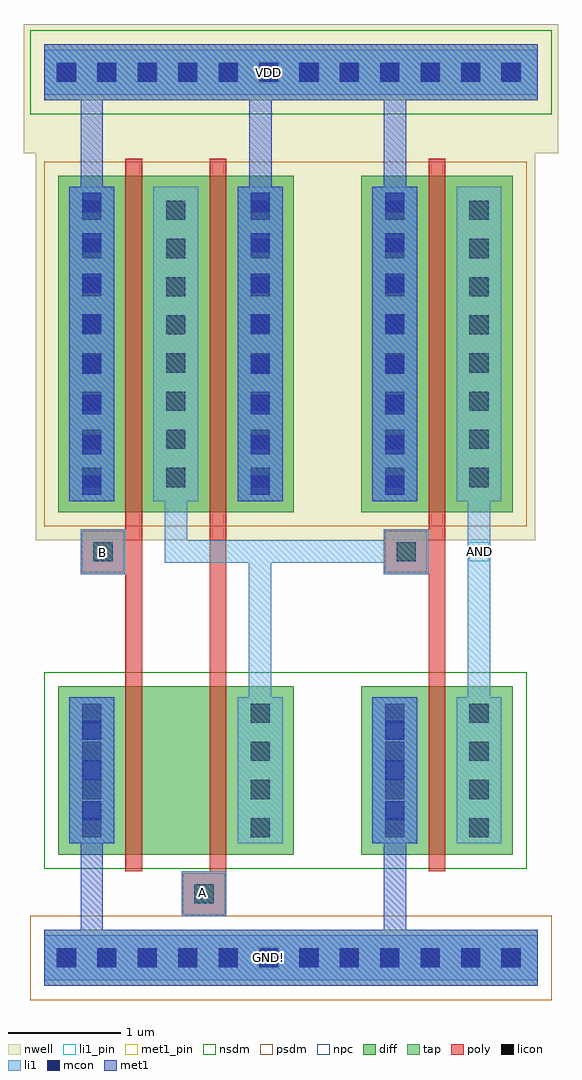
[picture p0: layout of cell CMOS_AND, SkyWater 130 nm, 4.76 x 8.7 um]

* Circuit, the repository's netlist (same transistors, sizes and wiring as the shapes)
* NGSPICE file created from CMOS_AND.ext - technology: sky130A

.subckt CMOS_AND GND AND A B VDD
X0 AND a_30_440# GND GND sky130_fd_pr__nfet_01v8 ad=9e+11p pd=4.2e+06u as=1.8e+12p ps=8.4e+06u w=1.5e+06u l=150000u
X1 VDD A a_30_440# VDD sky130_fd_pr__pfet_01v8 ad=5.4e+12p pd=2.16e+07u as=1.8e+12p ps=7.2e+06u w=3e+06u l=150000u
X2 a_30_n170# B GND GND sky130_fd_pr__nfet_01v8 ad=9e+11p pd=4.2e+06u as=0p ps=0u w=1.5e+06u l=150000u
X3 AND a_30_440# VDD VDD sky130_fd_pr__pfet_01v8 ad=1.8e+12p pd=7.2e+06u as=0p ps=0u w=3e+06u l=150000u
X4 a_30_440# B VDD VDD sky130_fd_pr__pfet_01v8 ad=0p pd=0u as=0p ps=0u w=3e+06u l=150000u
X5 a_30_440# A a_30_n170# GND sky130_fd_pr__nfet_01v8 ad=9e+11p pd=4.2e+06u as=0p ps=0u w=1.5e+06u l=150000u
.ends

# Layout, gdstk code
import gdstk
lib = gdstk.Library(unit=1e-6, precision=1e-09)
def R(c, l, rs):  # rectangles x0, y0, x1, y1
    for r in rs: c.add(gdstk.rectangle(r[:2], r[2:], *l))
def A(c, l, x, y, w, h, nx, ny, dx, dy):  # array of equal rectangles
    R(c, l, [(x+i*dx, y+j*dy, x+i*dx+w, y+j*dy+h) for i in range(nx) for j in range(ny)])
nwell = (64, 20)
diff = (65, 20)
tap = (65, 44)
poly = (66, 20)
licon = (66, 44)
li1_pin = (67, 16)
li1 = (67, 20)
mcon = (67, 44)
met1_pin = (68, 16)
met1 = (68, 20)
nsdm = (93, 44)
psdm = (94, 20)
npc = (95, 20)

cmos_and = lib.new_cell('CMOS_AND')
R(cmos_and, nwell, [(-0.8,1.95,3.65,5.4), (-0.905,5.4,3.855,6.55)])
R(cmos_and, diff, [(-0.6,-0.85,1.5,0.65), (2.1,-0.85,3.45,0.65), (-0.6,2.2,1.5,5.2), (2.1,2.2,3.45,5.2)])
R(cmos_and, tap, [(-0.725,-2.02,3.675,-1.52), (-0.725,5.87,3.675,6.37)])
R(cmos_and, poly, [(0.5,-1.4,0.9,-1), (0,-1,0.15,1.65), (0.75,-1,0.9,5.35), (2.7,-1,2.85,1.65), (-0.4,1.65,0.15,2.05), (2.3,1.65,2.85,2.05), (0,2.05,0.15,5.35), (2.7,2.05,2.85,5.35)])
A(cmos_and, licon, -0.61, -1.855, 0.17, 0.17, 6, 2, 0.36, 7.89)
A(cmos_and, licon, 1.19, -1.855, 0.17, 0.17, 7, 2, 0.36, 7.89)
A(cmos_and, licon, -0.385, -0.695, 0.17, 0.17, 1, 4, 0, 0.34)
A(cmos_and, licon, 1.115, -0.695, 0.17, 0.17, 1, 4, 0, 0.34)
A(cmos_and, licon, 2.315, -0.695, 0.17, 0.17, 1, 4, 0, 0.34)
A(cmos_and, licon, 3.065, -0.695, 0.17, 0.17, 1, 4, 0, 0.34)
A(cmos_and, licon, -0.385, 2.425, 0.17, 0.17, 3, 8, 0.75, 0.34)
A(cmos_and, licon, 2.315, 2.425, 0.17, 0.17, 1, 8, 0, 0.34)
A(cmos_and, licon, 3.065, 2.425, 0.17, 0.17, 1, 8, 0, 0.34)
R(cmos_and, licon, [(1.19,-1.855,1.36,-1.685), (0.615,-1.285,0.785,-1.115), (-0.285,1.765,-0.115,1.935), (2.415,1.765,2.585,1.935), (1.19,6.035,1.36,6.205)])
R(cmos_and, li1_pin, [(0.615,-1.285,0.785,-1.115), (-0.285,1.765,-0.115,1.935), (3.065,1.765,3.235,1.935)])
A(cmos_and, li1, -0.5, 2.3, 0.4, 2.8, 3, 1, 0.75, 0)
R(cmos_and, li1, [(-0.725,-1.97,3.675,-1.57), (0.5,-1.4,0.9,-1), (-0.5,-0.75,-0.1,0.55), (1,-0.75,1.4,0.55), (2.2,-0.75,2.6,0.55), (2.95,-0.75,3.35,0.55), (1.1,0.55,1.3,1.75), (3.05,0.55,3.25,2.3), (-0.4,1.65,0,2.05), (2.3,1.65,2.7,1.75), (0.35,1.75,2.7,1.95), (0.35,1.95,0.55,2.3), (2.3,1.95,2.7,2.05), (2.2,2.3,2.6,5.1), (2.95,2.3,3.35,5.1), (-0.725,5.92,3.675,6.32)])
A(cmos_and, mcon, -0.61, -1.855, 0.17, 0.17, 6, 2, 0.36, 7.89)
A(cmos_and, mcon, 1.19, -1.855, 0.17, 0.17, 7, 2, 0.36, 7.89)
A(cmos_and, mcon, -0.385, -0.545, 0.17, 0.17, 1, 3, 0, 0.36)
A(cmos_and, mcon, 2.315, -0.545, 0.17, 0.17, 1, 3, 0, 0.36)
A(cmos_and, mcon, -0.385, 2.355, 0.17, 0.17, 1, 8, 0, 0.36)
A(cmos_and, mcon, 1.115, 2.355, 0.17, 0.17, 1, 8, 0, 0.36)
A(cmos_and, mcon, 2.315, 2.355, 0.17, 0.17, 1, 8, 0, 0.36)
R(cmos_and, mcon, [(1.19,-1.855,1.36,-1.685), (1.19,6.035,1.36,6.205)])
R(cmos_and, met1_pin, [(1.175,-1.87,1.375,-1.67), (1.175,6.02,1.375,6.22)])
R(cmos_and, met1, [(-0.725,-2.02,3.675,-1.52), (-0.5,-0.75,-0.1,0.55), (2.2,-0.75,2.6,0.55), (-0.5,2.3,-0.1,5.1), (1,2.3,1.4,5.1), (2.2,2.3,2.6,5.1), (-0.725,5.87,3.675,6.37)])
R(cmos_and, nsdm, [(-0.725,-0.975,3.575,0.775), (-0.85,5.745,3.8,6.495)])
R(cmos_and, psdm, [(-0.85,-2.145,3.8,-1.395), (-0.725,2.075,3.575,5.325)])
R(cmos_and, npc, [(0.515,-1.385,0.885,-1.015), (-0.385,1.665,-0.015,2.035), (2.315,1.665,2.685,2.035)])
cmos_and.add(gdstk.FlexPath([(-0.3,-0.75),(-0.3,-1.52)], 0.2, ends="flush", simple_path=True, layer=68, datatype=20))  # met1
cmos_and.add(gdstk.FlexPath([(2.4,-0.75),(2.4,-1.52)], 0.2, ends="flush", simple_path=True, layer=68, datatype=20))  # met1
cmos_and.add(gdstk.FlexPath([(-0.3,5.1),(-0.3,5.87)], 0.2, ends="flush", simple_path=True, layer=68, datatype=20))  # met1
cmos_and.add(gdstk.FlexPath([(1.205,5.1),(1.205,5.87)], 0.2, ends="flush", simple_path=True, layer=68, datatype=20))  # met1
cmos_and.add(gdstk.FlexPath([(2.4,5.1),(2.4,5.87)], 0.2, ends="flush", simple_path=True, layer=68, datatype=20))  # met1
cmos_and.add(gdstk.Label('GND!', (1.275,-1.77), layer=68, texttype=16))
cmos_and.add(gdstk.Label('VDD', (1.275,6.12), layer=68, texttype=16))
cmos_and.add(gdstk.Label('AND', (3.155,1.85), layer=67, texttype=16))
cmos_and.add(gdstk.Label('A', (0.685,-1.19), layer=67, texttype=16))
cmos_and.add(gdstk.Label('B', (-0.2,1.845), layer=67, texttype=16))

lib.write_gds('CMOS_AND.gds')
